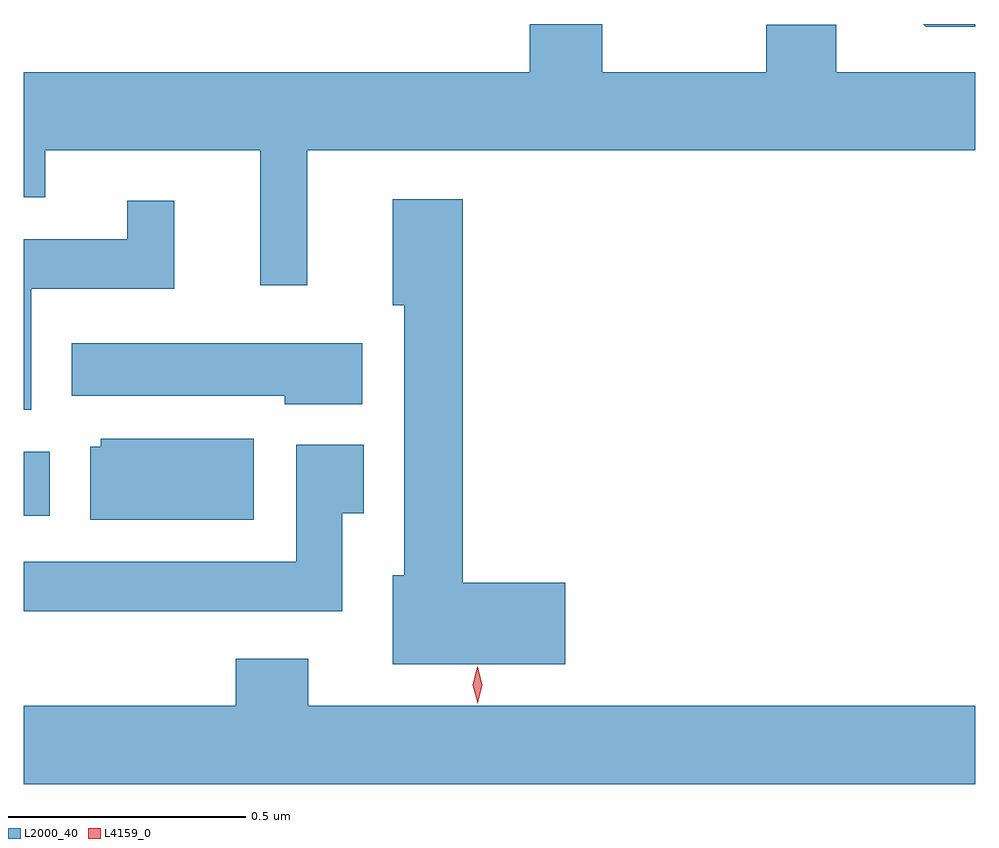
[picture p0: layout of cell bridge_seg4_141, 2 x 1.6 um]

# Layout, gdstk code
import gdstk
lib = gdstk.Library(unit=1e-6, precision=1e-09)
def R(c, l, rs):  # rectangles x0, y0, x1, y1
    for r in rs: c.add(gdstk.rectangle(r[:2], r[2:], *l))
def P(c, l, *ps):  # polygons
    for p in ps: c.add(gdstk.Polygon(p, *l))
L2000_40 = (2000, 40)
L4159_0 = (4159, 0)

bridge_seg4_141 = lib.new_cell('bridge_seg4_141')
R(bridge_seg4_141, L2000_40, [(318.645,764.084,318.7,764.218)])
P(bridge_seg4_141, L2000_40, [(319.241,764.852),(320.645,764.852),(320.645,765.016),(320.353,765.016),(320.353,765.115),(320.206,765.115),(320.206,765.016),(319.861,765.016),(319.861,765.117),(319.709,765.117),(319.709,765.016),(318.645,765.016),(318.645,764.753),(318.691,764.753),(318.691,764.852),(319.142,764.852),(319.142,764.568),(319.241,764.568)],
  [(320.645,765.117),(320.535,765.117),(320.541,765.111),(320.645,765.111)],
  [(319.783,763.943),(319.568,763.943),(319.568,764.749),(319.421,764.749),(319.421,764.526),(319.445,764.526),(319.445,763.959),(319.421,763.959),(319.421,763.772),(319.783,763.772)],
  [(318.661,764.561),(318.962,764.561),(318.962,764.746),(318.863,764.746),(318.863,764.665),(318.645,764.665),(318.645,764.306),(318.661,764.306)],
  [(319.357,764.446),(318.746,764.446),(318.746,764.336),(319.194,764.336),(319.194,764.318),(319.357,764.318)],
  [(319.129,764.245),(318.807,764.245),(318.807,764.229),(318.785,764.229),(318.785,764.075),(319.129,764.075)],
  [(319.315,764.089),(319.36,764.089),(319.36,764.233),(319.218,764.233),(319.218,763.987),(318.645,763.987),(318.645,763.883),(319.315,763.883)],
  [(320.645,763.684),(319.243,763.684),(319.243,763.783),(319.091,763.783),(319.091,763.684),(318.645,763.684),(318.645,763.52),(320.645,763.52)])
P(bridge_seg4_141, L4159_0, [(319.599,763.689),(319.599,763.69),(319.589,763.728),(319.598,763.766),(319.599,763.766),(319.599,763.766),(319.609,763.728),(319.599,763.69)])

lib.write_gds('bridge_seg4_141.gds')
